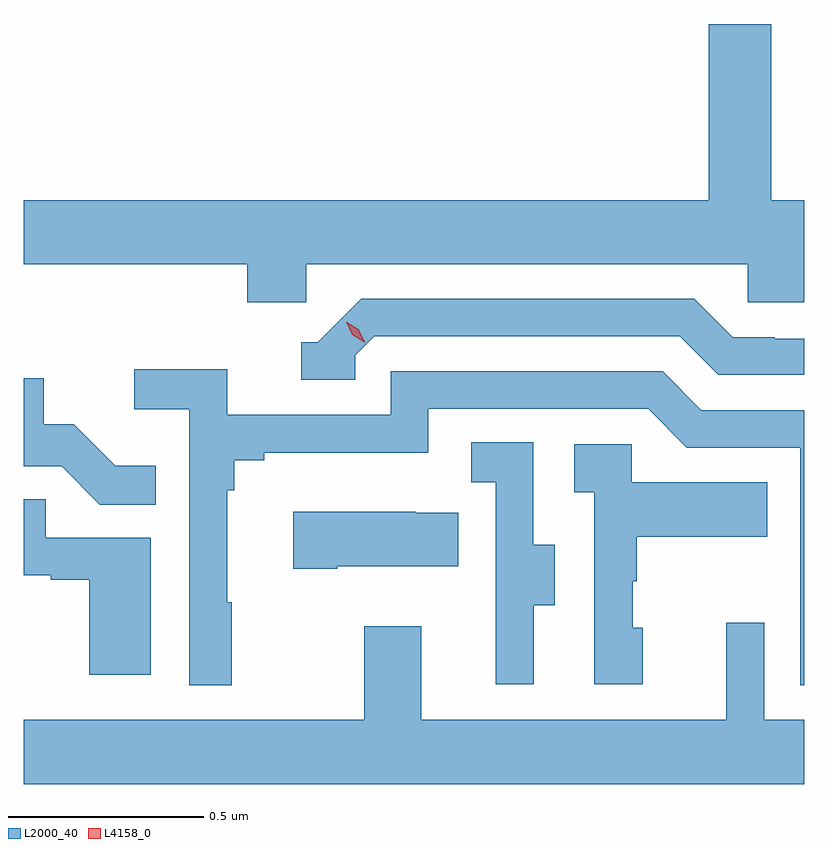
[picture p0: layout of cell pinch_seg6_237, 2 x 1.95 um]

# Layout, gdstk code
import gdstk
lib = gdstk.Library(unit=1e-6, precision=1e-09)
def P(c, l, *ps):  # polygons
    for p in ps: c.add(gdstk.Polygon(p, *l))
L2000_40 = (2000, 40)
L4158_0 = (4158, 0)

pinch_seg6_237 = lib.new_cell('pinch_seg6_237')
P(pinch_seg6_237, L2000_40, [(1127.382,930.02),(1128.513,930.02),(1128.513,929.922),(1128.658,929.922),(1128.658,930.184),(1128.573,930.184),(1128.573,930.635),(1128.413,930.635),(1128.413,930.184),(1126.658,930.184),(1126.658,930.02),(1127.231,930.02),(1127.231,929.922),(1127.382,929.922)],
  [(1127.508,929.787),(1127.556,929.835),(1128.339,929.835),(1128.438,929.736),(1128.658,929.736),(1128.658,929.829),(1128.582,929.829),(1128.582,929.832),(1128.475,929.832),(1128.376,929.931),(1127.523,929.931),(1127.412,929.82),(1127.369,929.82),(1127.369,929.724),(1127.508,929.724)],
  [(1127.191,929.153),(1127.179,929.153),(1127.179,929.441),(1127.198,929.441),(1127.198,929.518),(1127.275,929.518),(1127.275,929.537),(1127.694,929.537),(1127.694,929.649),(1128.258,929.649),(1128.357,929.55),(1128.648,929.55),(1128.648,928.941),(1128.658,928.941),(1128.658,929.646),(1128.394,929.646),(1128.295,929.745),(1127.598,929.745),(1127.598,929.634),(1127.18,929.634),(1127.18,929.75),(1126.941,929.75),(1126.941,929.648),(1127.082,929.648),(1127.082,928.941),(1127.191,928.941)],
  [(1126.997,929.503),(1126.893,929.503),(1126.786,929.61),(1126.71,929.61),(1126.71,929.727),(1126.658,929.727),(1126.658,929.502),(1126.755,929.502),(1126.853,929.404),(1126.997,929.404)],
  [(1127.965,929.146),(1128.019,929.146),(1128.019,929.301),(1127.964,929.301),(1127.964,929.564),(1127.805,929.564),(1127.805,929.461),(1127.868,929.461),(1127.868,929.157),(1127.867,929.157),(1127.867,928.944),(1127.965,928.944)],
  [(1128.244,929.088),(1128.219,929.088),(1128.219,929.207),(1128.229,929.207),(1128.229,929.321),(1128.563,929.321),(1128.563,929.461),(1128.216,929.461),(1128.216,929.559),(1128.069,929.559),(1128.069,929.435),(1128.12,929.435),(1128.12,928.944),(1128.244,928.944)],
  [(1126.984,929.319),(1126.715,929.319),(1126.715,929.417),(1126.658,929.417),(1126.658,929.223),(1126.727,929.223),(1126.727,929.211),(1126.826,929.211),(1126.826,928.968),(1126.984,928.968)],
  [(1127.461,929.246),(1127.771,929.246),(1127.771,929.383),(1127.663,929.383),(1127.663,929.386),(1127.349,929.386),(1127.349,929.239),(1127.461,929.239)],
  [(1128.658,928.852),(1128.555,928.852),(1128.555,929.101),(1128.458,929.101),(1128.458,928.852),(1127.677,928.852),(1127.677,929.092),(1127.53,929.092),(1127.53,928.852),(1126.658,928.852),(1126.658,928.688),(1128.658,928.688)])
P(pinch_seg6_237, L4158_0, [(1127.531,929.82),(1127.5,929.839),(1127.484,929.872),(1127.484,929.872),(1127.484,929.872),(1127.515,929.853),(1127.532,929.821),(1127.532,929.82)])

lib.write_gds('pinch_seg6_237.gds')
